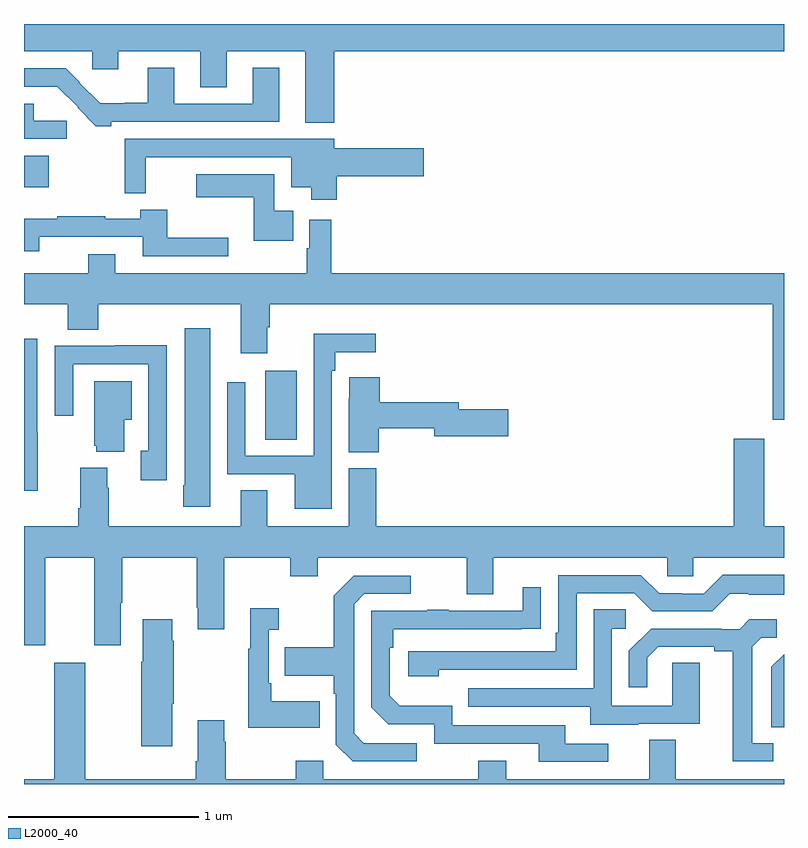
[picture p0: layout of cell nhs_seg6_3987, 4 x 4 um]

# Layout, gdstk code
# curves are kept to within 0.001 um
import gdstk
lib = gdstk.Library(unit=1e-6, precision=1e-09)
def R(c, l, rs):  # rectangles x0, y0, x1, y1
    for r in rs: c.add(gdstk.rectangle(r[:2], r[2:], *l))
def P(c, l, *ps):  # polygons
    for p in ps: c.add(gdstk.Polygon(p, *l))
L2000_40 = (2000, 40)

nhs_seg6_3987 = lib.new_cell('nhs_seg6_3987')
R(nhs_seg6_3987, L2000_40, [(348.269,925.312,348.436,925.675), (347,926.642,347.131,926.806)])
P(nhs_seg6_3987, L2000_40, [(351,927.5),(347,927.5),(347,927.356),(347.358,927.356),(347.358,927.261),(347.497,927.261),(347.497,927.356),(347.927,927.356),(347.927,927.166),(348.067,927.166),(348.067,927.356),(348.479,927.356),(348.479,926.981),(348.632,926.981),(348.632,927.356),(351,927.356)],
  [(347.458,926.985),(348.343,926.985),(348.343,927.271),(348.203,927.271),(348.203,927.081),(347.791,927.081),(347.791,927.271),(347.651,927.271),(347.651,927.086),(347.531,927.086),(347.531,927.082),(347.402,927.082),(347.292,927.192),(347.294,927.194),(347.221,927.267),(347,927.267),(347,927.171),(347.176,927.17),(347.285,927.062),(347.282,927.059),(347.377,926.963),(347.458,926.963)],
  [(347.224,926.991),(347.05,926.991),(347.05,927.081),(347,927.081),(347,926.895),(347.224,926.895)],
  [(348.647,926.699),(349.105,926.699),(349.105,926.846),(348.634,926.846),(348.634,926.895),(347.529,926.895),(347.529,926.608),(347.642,926.608),(347.642,926.799),(348.407,926.799),(348.407,926.642),(348.512,926.642),(348.512,926.574),(348.647,926.574)],
  [(348.416,926.518),(348.318,926.518),(348.318,926.71),(347.907,926.71),(347.907,926.588),(348.21,926.588),(348.21,926.36),(348.416,926.36)],
  [(348.076,926.375),(347.754,926.375),(347.754,926.523),(347.612,926.523),(347.612,926.476),(347.428,926.476),(347.428,926.488),(347.176,926.488),(347.176,926.476),(347,926.476),(347,926.303),(347.08,926.303),(347.08,926.379),(347.624,926.379),(347.624,926.277),(348.076,926.277)],
  [(351,926.188),(348.617,926.188),(348.617,926.47),(348.501,926.47),(348.501,926.321),(348.489,926.321),(348.489,926.188),(347.479,926.188),(347.479,926.287),(347.339,926.287),(347.339,926.188),(347,926.188),(347,926.024),(347.231,926.024),(347.231,925.891),(347.391,925.891),(347.391,926.024),(348.14,926.024),(348.14,925.767),(348.28,925.767),(348.28,925.904),(348.293,925.904),(348.293,926.024),(350.942,926.024),(350.942,925.418),(351,925.418)],
  [(347.98,925.9),(347.846,925.9),(347.846,925.072),(347.839,925.072),(347.839,924.96),(347.98,924.96)],
  [(348.621,925.676),(348.637,925.676),(348.637,925.772),(348.85,925.772),(348.85,925.87),(348.525,925.87),(348.525,925.227),(348.165,925.227),(348.165,925.615),(348.069,925.615),(348.069,925.131),(348.425,925.131),(348.425,924.95),(348.621,924.95)],
  [(347.073,925.349),(347.07,925.349),(347.07,925.843),(347,925.843),(347,925.043),(347.073,925.043)],
  [(347.751,925.808),(347.479,925.808),(347.479,925.806),(347.163,925.806),(347.163,925.437),(347.259,925.437),(347.259,925.71),(347.655,925.71),(347.655,925.254),(347.615,925.254),(347.615,925.098),(347.751,925.098)],
  [(348.867,925.372),(349.16,925.372),(349.16,925.33),(349.549,925.33),(349.549,925.472),(349.288,925.472),(349.288,925.508),(348.872,925.508),(348.872,925.642),(348.711,925.642),(348.711,925.529),(348.71,925.529),(348.71,925.246),(348.867,925.246)],
  [(347.527,925.418),(347.566,925.418),(347.566,925.621),(347.369,925.621),(347.369,925.281),(347.381,925.281),(347.381,925.25),(347.527,925.25)],
  [(347.113,924.692),(347.369,924.692),(347.369,924.231),(347.509,924.231),(347.509,924.454),(347.517,924.454),(347.517,924.692),(347.908,924.692),(347.908,924.427),(347.915,924.427),(347.915,924.315),(348.055,924.315),(348.055,924.692),(348.4,924.692),(348.4,924.593),(348.547,924.593),(348.547,924.692),(349.331,924.692),(349.331,924.498),(349.471,924.498),(349.471,924.692),(350.385,924.692),(350.385,924.594),(350.523,924.594),(350.523,924.692),(351,924.692),(351,924.856),(350.895,924.856),(350.895,925.318),(350.735,925.318),(350.735,924.856),(348.854,924.856),(348.854,925.161),(348.71,925.161),(348.71,924.856),(348.28,924.856),(348.28,925.046),(348.14,925.046),(348.14,924.856),(347.445,924.856),(347.445,925.058),(347.437,925.058),(347.437,925.165),(347.297,925.165),(347.297,924.952),(347.285,924.952),(347.285,924.856),(347,924.856),(347,924.231),(347.113,924.231)],
  [(349.184,924.102),(349.908,924.102),(349.908,924.504),(350.211,924.504),(350.307,924.408),(350.622,924.408),(350.715,924.501),(350.815,924.501),(350.815,924.497),(351,924.497),(351,924.601),(350.677,924.601),(350.577,924.501),(350.462,924.501),(350.462,924.504),(350.343,924.504),(350.247,924.6),(349.812,924.6),(349.812,924.295),(349.799,924.295),(349.799,924.198),(349.023,924.198),(349.023,924.068),(349.184,924.068)],
  [(349.066,923.715),(348.789,923.715),(348.738,923.766),(348.738,924.447),(348.792,924.501),(349.036,924.501),(349.036,924.597),(348.735,924.597),(348.63,924.491),(348.63,924.219),(348.373,924.219),(348.373,924.071),(348.63,924.071),(348.63,923.975),(348.642,923.975),(348.642,923.706),(348.729,923.619),(349.066,923.619)],
  [(350.074,923.712),(349.849,923.712),(349.849,923.808),(349.254,923.808),(349.254,923.911),(348.977,923.911),(348.924,923.964),(348.924,924.218),(348.944,924.218),(348.944,924.315),(349.721,924.316),(349.721,924.535),(349.625,924.535),(349.625,924.411),(349.235,924.411),(349.235,924.416),(349.123,924.416),(349.123,924.411),(348.828,924.411),(348.828,923.904),(348.918,923.814),(349.158,923.814),(349.158,923.712),(349.709,923.712),(349.709,923.616),(350.074,923.616)],
  [(348.557,923.935),(348.301,923.935),(348.301,924.031),(348.288,924.031),(348.288,924.311),(348.34,924.311),(348.34,924.424),(348.191,924.424),(348.191,924.211),(348.18,924.211),(348.18,923.795),(348.557,923.795)],
  [(350.233,923.817),(350.557,923.817),(350.557,924.137),(350.412,924.137),(350.412,923.913),(350.094,923.913),(350.094,924.318),(350.167,924.318),(350.167,924.419),(349.998,924.419),(349.998,924.003),(349.339,924.003),(349.339,923.907),(349.979,923.907),(349.979,923.813),(350.233,923.813)],
  [(347.779,923.923),(347.787,923.923),(347.787,924.254),(347.779,924.254),(347.779,924.367),(347.624,924.367),(347.624,924.143),(347.617,924.143),(347.617,923.7),(347.779,923.7)],
  [(350.944,923.715),(350.833,923.715),(350.833,924.223),(350.88,924.27),(350.962,924.27),(350.962,924.367),(350.818,924.367),(350.766,924.315),(350.672,924.315),(350.672,924.318),(350.3,924.318),(350.184,924.202),(350.184,924.009),(350.281,924.009),(350.281,924.165),(350.338,924.222),(350.633,924.222),(350.633,924.2),(350.729,924.2),(350.729,923.619),(350.944,923.619)],
  [(351,924.184),(350.934,924.118),(350.934,923.8),(351,923.8)],
  [(351,923.524),(350.431,923.524),(350.431,923.732),(350.291,923.732),(350.291,923.524),(349.537,923.524),(349.537,923.623),(349.39,923.623),(349.39,923.524),(348.576,923.524),(348.576,923.623),(348.43,923.623),(348.43,923.524),(348.063,923.524),(348.063,923.723),(348.055,923.723),(348.055,923.836),(347.915,923.836),(347.915,923.62),(347.903,923.62),(347.903,923.524),(347.323,923.524),(347.323,924.139),(347.159,924.139),(347.159,923.524),(347,923.524),(347,923.5),(351,923.5)])

lib.write_gds('nhs_seg6_3987.gds')
